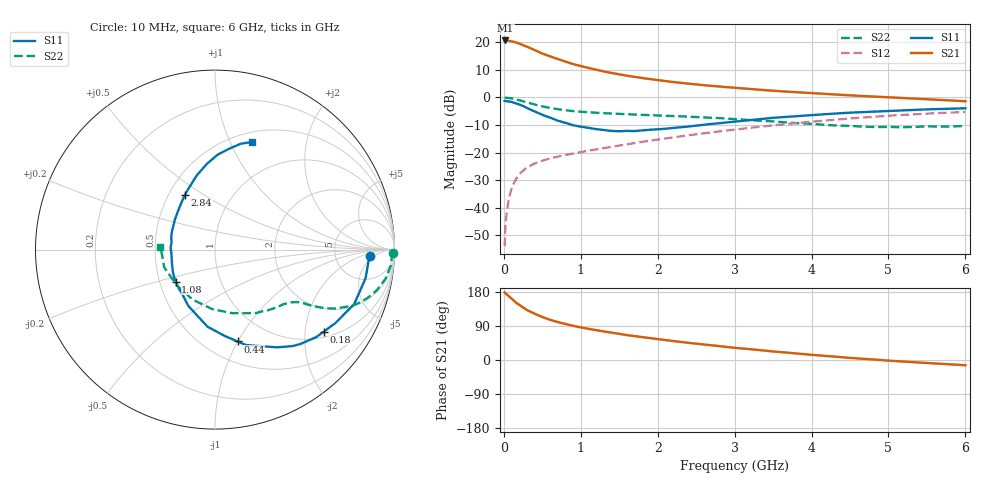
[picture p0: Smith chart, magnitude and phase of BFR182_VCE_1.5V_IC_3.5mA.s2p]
! Infineon Technologies  Discrete & RF Semiconductors
! BFR182
! VCE =  1.5 V,  IC =  3.5 mA
! Common Emitter S-Parameters:  Nov 2015
# GHz  S  MA  R  50
!  f  S11  S21  S12  S22
! GHz  MAG  ANG  MAG  ANG  MAG  ANG  MAG  ANG
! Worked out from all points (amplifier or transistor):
!   210 points, 10 MHz to 6 GHz, reference 50 ohm
!   highest |S21| = 20.7 dB at 20 MHz (marker M1)
!   |S21| within 3 dB of that: start of sweep to 361.9 MHz
!   unconditionally stable (mu >= 1): 1.205 GHz to 2.98 GHz
!   at 185 MHz: K = 0.26, MSG = 24.1 dB, |S12| = -28.5 dB
!   at 1.52 GHz: K = 1.06, MAG = 11.3 dB, |S12| = -17.4 dB
!   at 6 GHz: K = 0.90, MSG = 2.0 dB, |S12| = -5.3 dB
!   S11 on the Smith chart (normalised r, x): 10 MHz: 13, -3; 180 MHz: 1.17, -2.51; 440 MHz: 0.70, -1.00; 1.08 GHz: 0.61, -0.23; 2.84 GHz: 0.60, +0.42; 6 GHz: 0.60, +1.22
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0.01  0.8634 -2.3  10.71 178.4  0.002 92.9  0.9931 -1.0
0.02  0.8579 -4.3  10.8 176.1  0.0043 88.4  0.9864 -2.0
0.05  0.8539 -10.9  10.8 170.8  0.0108 83.9  0.9845 -5.0
0.1  0.8324 -21.5  10.39 162.2  0.0219 78.6  0.964 -9.7
0.15  0.7848 -31.6  10.08 152.6  0.0315 73.6  0.9289 -14.2
0.18  0.759 -37.0  9.715 148.3  0.0366 70.8  0.9053 -16.3
0.24  0.709 -47.9  8.989 139.7  0.0457 65.6  0.8599 -20.0
0.3  0.6442 -57.7  8.344 131.7  0.0533 62.6  0.8126 -22.9
0.44  0.527 -76.2  6.841 118.7  0.0664 57.4  0.7195 -27.1
0.5  0.4847 -83.5  6.252 113.1  0.071 55.9  0.6865 -28.3
0.6  0.4319 -95.5  5.558 106.1  0.0779 54.9  0.6449 -29.5
0.7  0.379 -105.6  4.974 100.0  0.0842 54.4  0.6113 -30.4
0.84  0.3322 -118.8  4.286 92.9  0.0925 54.4  0.577 -31.2
1.02  0.2916 -135.1  3.644 85.3  0.103 55.2  0.5471 -32.4
1.08  0.2825 -140.9  3.48 83.0  0.1068 55.4  0.5399 -32.8
1.6  0.2476 177.4  2.476 65.7  0.141 57.4  0.4952 -37.5
2.02  0.2649 152.1  2.038 54.6  0.1733 57.7  0.4719 -42.9
2.84  0.3462 119.1  1.559 35.8  0.2457 54.7  0.4187 -57.5
3.1  0.3755 112.4  1.458 30.5  0.271 52.9  0.3959 -63.5
4.1  0.489 93.9  1.176 12.1  0.373 43.5  0.3231 -96.7
5.1  0.5756 80.7  0.99 -2.9  0.4738 31.0  0.2892 -141.9
6  0.635 70.9  0.853 -13.9  0.5442 17.8  0.3043 176.8
